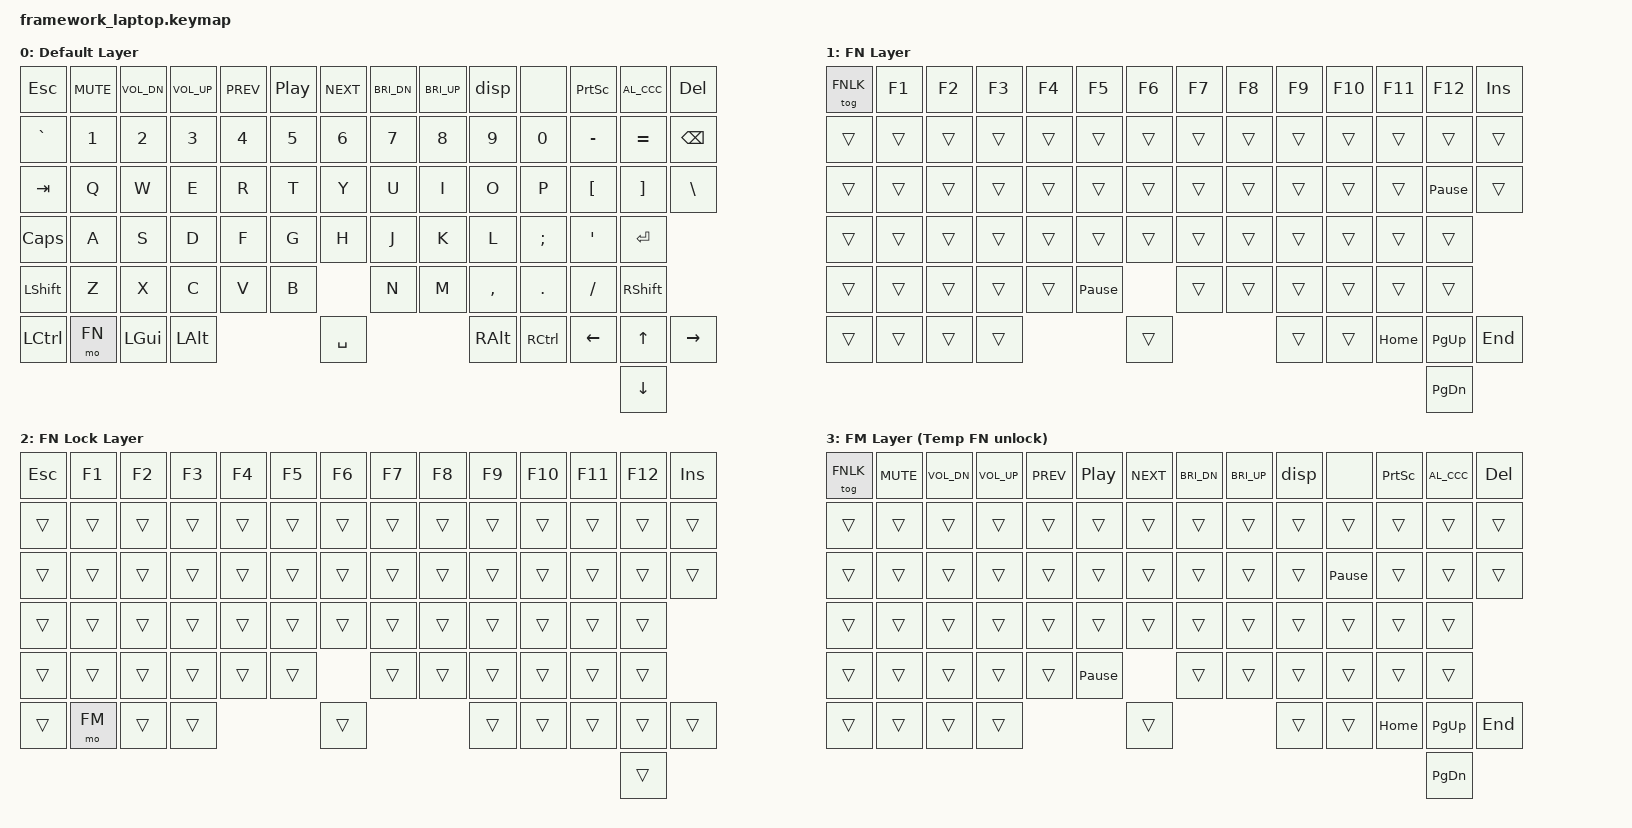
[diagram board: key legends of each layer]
/*
 * Copyright (c) 2022 The ZMK Contributors
 *
 * SPDX-License-Identifier: MIT
 */

#include <behaviors.dtsi>
#include <dt-bindings/zmk/keys.h>
#include <dt-bindings/zmk/backlight.h>

#define BASE  0
#define FN    1
#define FNLK  2
#define FM    3

#define ______ &trans
#define TODO   &none
#define PAUSE PAUSE_BREAK

/ {
    macros {
        disp: display_switch {
            compatible = "zmk,behavior-macro";
            #binding-cells = <0>;
            // Simulate press WIN+P
            // Works (at least) on Windows and GNOME
            bindings
                = <&macro_press &kp LGUI>
                , <&macro_tap &kp P>
                , <&macro_release &kp LGUI>
                ;
        };
    };
    keymap {
        compatible = "zmk,keymap";

        default_layer {
            display-name = "Default Layer";
            bindings = <
                // ---------------------------------------------------------------------------------------------------------
                // | ESC  |Mute |Prev |Next  |Prev  |Play  | Next |BrDown |BrUp   |Displ |Airplne|Print  | Media |  DEL    |
                // |  ` |  1  |  2  |  3   |  4   |  5   |  6   |  7    |  8    |  9   |   0   |  -    |  =    | BACKSPC   |
                // | TAB |  Q  |  W  |  E   |  R   |  T   |  Y   |  U    |  I    |  O   |   P   |  [    |  ]    |  \       |
                // | CAPS |  A  |  S  |  D   |  F   |  G   |  H   |  J    |  K    |  L   |   ;   |   '   |    Enter        |
                // | SHIFT       |  Z  |  X   |  C   |  V   |  B   |  N   |  M    |  ,    |  .   |   /    | SHIFT          |
                // | CTRL  | FN  | GUI | ALT  | CTRL |        SPACE                | ALT  | CTRL | LEFT   | UP     | RIGHT |
                // |                                                                                      | DOWN   |
                &kp ESC   &kp C_MUTE &kp C_VOL_DN &kp C_VOL_UP &kp C_PREV &kp C_PP &kp C_NEXT &kp C_BRI_DN &kp C_BRI_UP &disp TODO      &kp PSCRN &kp C_AL_CCC &kp DEL
                &kp GRAVE &kp N1 &kp N2   &kp N3   &kp N4   &kp N5   &kp N6   &kp N7   &kp N8   &kp N9    &kp N0    &kp MINUS &kp EQUAL &kp BSPC
                &kp TAB   &kp Q  &kp W    &kp E    &kp R    &kp T    &kp Y    &kp U    &kp I    &kp O     &kp P     &kp LBKT  &kp RBKT  &kp BSLH
                &kp CAPS  &kp A  &kp S    &kp D    &kp F    &kp G    &kp H    &kp J    &kp K    &kp L     &kp SEMI  &kp SQT   &kp RET
                &kp LSHFT        &kp Z    &kp X    &kp C    &kp V    &kp B    &kp N    &kp M    &kp COMMA &kp DOT   &kp FSLH  &kp RSHFT
                &kp LCTRL &mo FN &kp LGUI &kp LALT                   &kp SPACE                  &kp RALT  &kp RCTRL &kp LEFT  &kp UP    &kp RIGHT
                                                                                                                              &kp DOWN
           >;
        };

        fn_layer {
            display-name = "FN Layer";
            bindings = <
                // ---------------------------------------------------------------------------------------------------------
                // | FNLK |  F1 |  F2 |  F3  |  F4  |  F5  |  F6  |  F7   |  F8   |  F9  |  F10  |  F11  |  F12  |  INS    |
                // |    |     |     |      |      |      |      |       |       |      |       |       |       |           |
                // |     |     |     |      |      |      |      |       |       |      |       |       |       |  \       |
                // |      |     |     |      |      |      |      |       |       |      |       |       |                 |
                // |             |     |      |      |      |      |      |       |       |      |        |                |
                // |       |     |     |      |      |                             |      |      | HOME   | PG UP  | END   |
                // |                                                                                      | PG DN  |
                &tog FNLK &kp F1 &kp F2   &kp F3   &kp F4   &kp F5   &kp F6   &kp F7   &kp F8   &kp F9    &kp F10   &kp F11   &kp F12   &kp INS
                ______    ______ ______   ______   ______   ______   ______   ______   ______   ______    ______    ______    ______    ______
                ______    ______ ______   ______   ______   ______   ______   ______   ______   ______    ______    ______    &kp PAUSE ______
                ______    ______ ______   ______   ______   ______   ______   ______   ______   ______    ______    ______    ______
                ______           ______   ______   ______   ______   &kp PAUSE ______  ______   ______    ______    ______    ______
                ______    ______ ______   ______                     ______                     ______    ______    &kp HOME  &kp PG_UP &kp END
                                                                                                                              &kp PG_DN
           >;
        };

        fnlock_layer {
            display-name = "FN Lock Layer";
            bindings = <
                // ---------------------------------------------------------------------------------------------------------
                // | FNLK |  F1 |  F2 |  F3  |  F4  |  F5  |  F6  |  F7   |  F8   |  F9  |  F10  |  F11  |  F12  |  DEL    |
                // |    |     |     |      |      |      |      |       |       |      |       |       |       |           |
                // |     |     |     |      |      |      |      |       |       |      |       |       |       |  \       |
                // |      |     |     |      |      |      |      |       |       |      |       |       |                 |
                // |             |     |      |      |      |      |      |       |       |      |        |                |
                // |       | FN  |     |      |      |                             |      |      |        |        |       |
                // |                                                                                      |        |
                &kp ESC   &kp F1 &kp F2   &kp F3   &kp F4   &kp F5   &kp F6   &kp F7   &kp F8   &kp F9    &kp F10   &kp F11   &kp F12   &kp INS
                ______    ______ ______   ______   ______   ______   ______   ______   ______   ______    ______    ______    ______    ______
                ______    ______ ______   ______   ______   ______   ______   ______   ______   ______    ______    ______    ______    ______
                ______    ______ ______   ______   ______   ______   ______   ______   ______   ______    ______    ______    ______
                ______           ______   ______   ______   ______   ______    ______  ______   ______    ______    ______    ______
                ______    &mo FM ______   ______                     ______                     ______    ______    ______    ______    ______
                                                                                                                              ______
           >;
        };

        fm_layer {
            display-name = "FM Layer (Temp FN unlock)";
            bindings = <
                // ---------------------------------------------------------------------------------------------------------
                // | FNLK |Mute |Prev |Next  |Prev  |Play  | Next |BrDown |BrUp   |Displ |Airplne|Print  | Media |  DEL    |
                // |    |     |     |      |      |      |      |       |       |      |       |       |       |           |
                // |     |     |     |      |      |      |      |       |       |      | PAUSE |       |       |  \       |
                // |      |     |     |      |      |      |      |       |       |      |       |       |                 |
                // |             |     |      |      |      |      |      |       |       |      |        |                |
                // |       |     |     |      |      |                             |      |      | HOME   | PG UP  | END   |
                // |                                                                                      | PG DN  |
                &tog FNLK &kp C_MUTE &kp C_VOL_DN &kp C_VOL_UP &kp C_PREV &kp C_PP &kp C_NEXT &kp C_BRI_DN &kp C_BRI_UP &disp TODO      &kp PSCRN &kp C_AL_CCC &kp DEL
                ______    ______ ______   ______   ______   ______   ______   ______   ______   ______    ______    ______    ______    ______
                ______    ______ ______   ______   ______   ______   ______   ______   ______   ______    &kp PAUSE ______    ______    ______
                ______    ______ ______   ______   ______   ______   ______   ______   ______   ______    ______    ______    ______
                ______           ______   ______   ______   ______   &kp PAUSE ______  ______   ______    ______    ______    ______
                ______    ______ ______   ______                     ______                     ______    ______    &kp HOME  &kp PG_UP &kp END
                                                                                                                              &kp PG_DN
           >;
        };
    };
};
